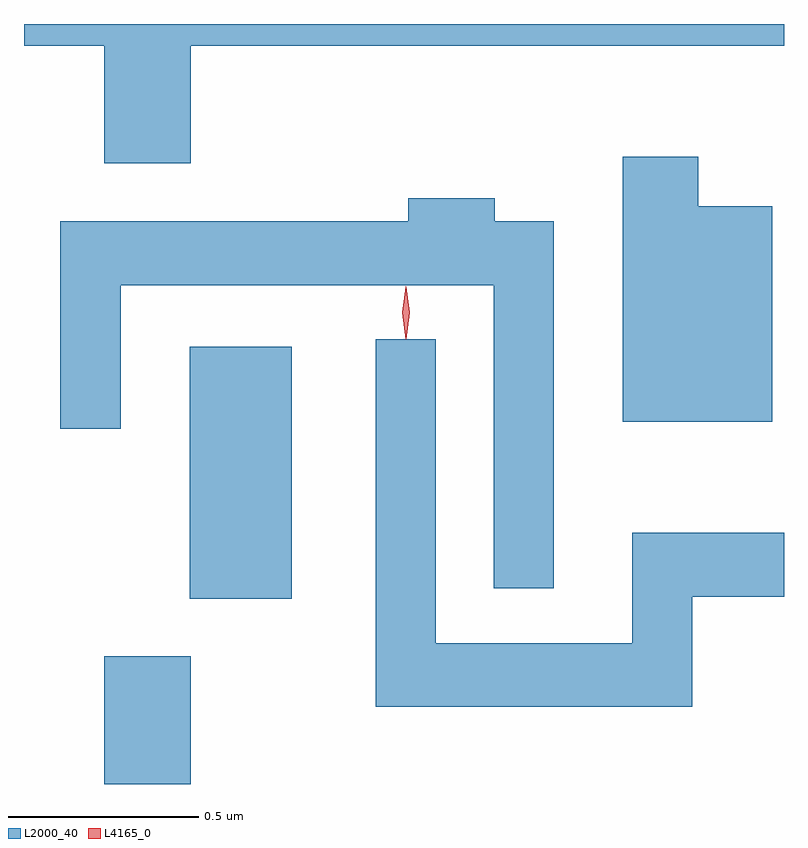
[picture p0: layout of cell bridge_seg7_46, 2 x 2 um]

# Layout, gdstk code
import gdstk
lib = gdstk.Library(unit=1e-6, precision=1e-09)
def R(c, l, rs):  # rectangles x0, y0, x1, y1
    for r in rs: c.add(gdstk.rectangle(r[:2], r[2:], *l))
def P(c, l, *ps):  # polygons
    for p in ps: c.add(gdstk.Polygon(p, *l))
L2000_40 = (2000, 40)
L4165_0 = (4165, 0)

bridge_seg7_46 = lib.new_cell('bridge_seg7_46')
R(bridge_seg7_46, L2000_40, [(1524.841,1803.393,1525.069,1803.729), (1525.066,1803.881,1525.334,1804.544)])
P(bridge_seg7_46, L2000_40, [(1525.069,1805.336),(1526.63,1805.336),(1526.63,1805.393),(1524.63,1805.393),(1524.63,1805.336),(1524.841,1805.336),(1524.841,1805.026),(1525.069,1805.026)],
  [(1526.599,1804.914),(1526.404,1804.914),(1526.404,1805.044),(1526.206,1805.044),(1526.206,1804.346),(1526.599,1804.346)],
  [(1526.024,1804.874),(1525.869,1804.874),(1525.869,1804.934),(1525.641,1804.934),(1525.641,1804.874),(1524.726,1804.874),(1524.726,1804.328),(1524.884,1804.328),(1524.884,1804.706),(1525.866,1804.706),(1525.866,1803.908),(1526.024,1803.908)],
  [(1526.389,1803.886),(1526.63,1803.886),(1526.63,1804.054),(1526.231,1804.054),(1526.231,1803.764),(1525.714,1803.764),(1525.714,1804.563),(1525.556,1804.563),(1525.556,1803.596),(1526.389,1803.596)])
P(bridge_seg7_46, L4165_0, [(1525.635,1804.563),(1525.634,1804.564),(1525.625,1804.633),(1525.634,1804.702),(1525.635,1804.703),(1525.636,1804.702),(1525.645,1804.633),(1525.636,1804.564)],
  [(1525.634,1804.567),(1525.625,1804.634),(1525.634,1804.7),(1525.635,1804.7),(1525.636,1804.7),(1525.645,1804.634),(1525.636,1804.567),(1525.635,1804.567)])

lib.write_gds('bridge_seg7_46.gds')
